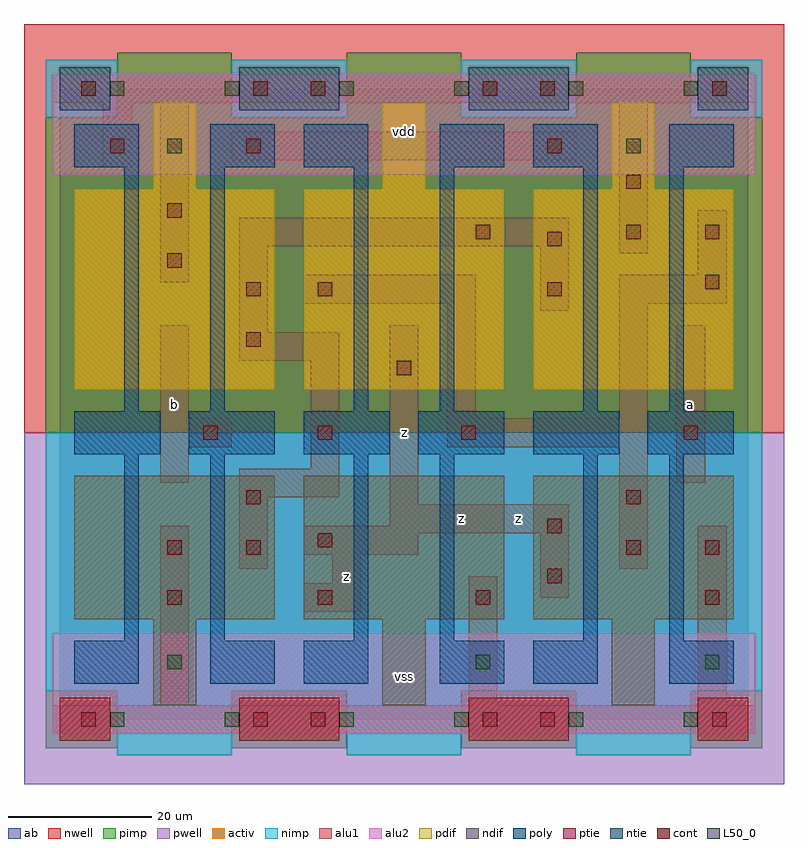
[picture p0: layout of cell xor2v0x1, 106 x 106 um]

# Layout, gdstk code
import gdstk
lib = gdstk.Library(unit=1e-6, precision=1e-09)
def R(c, l, rs):  # rectangles x0, y0, x1, y1
    for r in rs: c.add(gdstk.rectangle(r[:2], r[2:], *l))
def A(c, l, x, y, w, h, nx, ny, dx, dy):  # array of equal rectangles
    R(c, l, [(x+i*dx, y+j*dy, x+i*dx+w, y+j*dy+h) for i in range(nx) for j in range(ny)])
ndif = (3, 0)
pdif = (4, 0)
ntie = (5, 0)
ptie = (6, 0)
cont = (25, 0)
pwell = (41, 0)
nwell = (42, 0)
activ = (43, 0)
pimp = (44, 0)
nimp = (45, 0)
poly = (46, 0)
alu1 = (49, 0)
L50_0 = (50, 0)
alu2 = (51, 0)
ab = (63, 0)

xor2v0x1 = lib.new_cell('xor2v0x1')
A(xor2v0x1, ndif, 13, 2, 6, 12, 3, 1, 32, 0)
A(xor2v0x1, ndif, 2, 14, 28, 20, 3, 1, 32, 0)
A(xor2v0x1, pdif, 2, 46, 28, 28, 3, 1, 32, 0)
A(xor2v0x1, pdif, 13, 74, 6, 12, 3, 1, 32, 0)
R(xor2v0x1, ntie, [(0,85,7,91), (25,85,39,91), (57,85,71,91), (89,85,96,91)])
R(xor2v0x1, ptie, [(0,-3,7,3), (25,-3,39,3), (57,-3,71,3), (89,-3,96,3)])
R(xor2v0x1, cont, [(3,-1,5,1), (27,-1,29,1), (35,-1,37,1), (59,-1,61,1), (67,-1,69,1), (91,-1,93,1), (15,16,17,18), (36,16,38,18), (58,16,60,18), (90,16,92,18), (68,19,70,21), (15,23,17,25), (26,23,28,25), (79,23,81,25), (90,23,92,25), (36,24,38,26), (68,26,70,28), (26,30,28,32), (79,30,81,32), (20,39,22,41), (36,39,38,41), (56,39,58,41), (87,39,89,41), (47,48,49,50), (26,52,28,54), (26,59,28,61), (36,59,38,61), (68,59,70,61), (90,60,92,62), (15,63,17,65), (68,66,70,68), (58,67,60,69), (79,67,81,69), (90,67,92,69), (15,70,17,72), (79,74,81,76), (7,79,9,81), (26,79,28,81), (68,79,70,81), (3,87,5,89), (27,87,29,89), (35,87,37,89), (59,87,61,89), (67,87,69,89), (91,87,93,89)])
R(xor2v0x1, pwell, [(-5,-9,101,40)])
R(xor2v0x1, nwell, [(-5,40,101,97)])
A(xor2v0x1, activ, 13, 2, 6, 12, 3, 2, 32, 72)
A(xor2v0x1, activ, 2, 14, 28, 20, 3, 1, 32, 0)
A(xor2v0x1, activ, 2, 46, 28, 28, 3, 1, 32, 0)
R(xor2v0x1, activ, [(0,-3,7,3), (25,-3,39,3), (57,-3,71,3), (89,-3,96,3), (0,85,7,91), (25,85,39,91), (57,85,71,91), (89,85,96,91)])
A(xor2v0x1, pimp, 8, 84, 16, 9, 3, 1, 32, 0)
R(xor2v0x1, pimp, [(-2,-4,8,4), (24,-4,40,4), (56,-4,72,4), (88,-4,98,4), (-2,40,98,84)])
A(xor2v0x1, nimp, 8, -5, 16, 9, 3, 1, 32, 0)
R(xor2v0x1, nimp, [(-2,4,98,40), (-2,84,8,92), (24,84,40,92), (56,84,72,92), (88,84,98,92)])
A(xor2v0x1, poly, 2, 37, 12, 6, 6, 1, 16, 0)
R(xor2v0x1, poly, [(2,5,11,11), (21,5,30,11), (34,5,43,11), (53,5,62,11), (66,5,75,11), (85,5,94,11), (9,11,11,37), (21,11,23,37), (41,11,43,37), (53,11,55,37), (73,11,75,37), (85,11,87,37), (9,43,11,77), (21,43,23,77), (41,43,43,77), (53,43,55,77), (73,43,75,77), (85,43,87,77), (2,77,11,83), (21,77,30,83), (34,77,43,83), (53,77,62,83), (66,77,75,83), (85,77,94,83)])
R(xor2v0x1, alu1, [(-1,-2,97,2), (14,2,18,27), (57,2,61,20), (89,2,93,27), (34,15,42,19), (67,17,71,26), (38,19,42,23), (25,21,29,31), (78,21,82,38), (34,23,50,26), (34,26,71,27), (46,27,71,30), (46,30,50,55), (25,31,39,35), (14,33,18,38), (86,33,90,55), (35,35,39,50), (14,38,24,42), (54,38,82,42), (14,42,18,55), (54,42,58,58), (78,42,82,58), (25,50,39,54), (25,54,29,66), (67,57,71,66), (34,58,58,62), (78,58,93,62), (14,61,18,86), (89,62,93,71), (78,65,82,86), (25,66,71,70), (6,77,10,86), (24,78,72,82), (-1,86,97,90)])
A(xor2v0x1, L50_0, 7, -1, 2, 2, 6, 2, 16, 88)
R(xor2v0x1, L50_0, [(15,7,17,9), (58,7,60,9), (90,7,92,9), (15,79,17,81), (79,79,81,81)])
R(xor2v0x1, alu2, [(-1,-2,97,12), (-1,76,97,90)])
R(xor2v0x1, ab, [(0,0,96,88)])
xor2v0x1.add(gdstk.Label('b', (16,44), layer=49, texttype=0))
xor2v0x1.add(gdstk.Label('z', (40,20), layer=49, texttype=0))
xor2v0x1.add(gdstk.Label('z', (48,40), layer=49, texttype=0))
xor2v0x1.add(gdstk.Label('z', (64,28), layer=49, texttype=0))
xor2v0x1.add(gdstk.Label('z', (56,28), layer=49, texttype=0))
xor2v0x1.add(gdstk.Label('a', (88,44), layer=49, texttype=0))
xor2v0x1.add(gdstk.Label('vss', (48,6), layer=51, texttype=0))
xor2v0x1.add(gdstk.Label('vdd', (48,82), layer=51, texttype=0))

lib.write_gds('xor2v0x1.gds')
